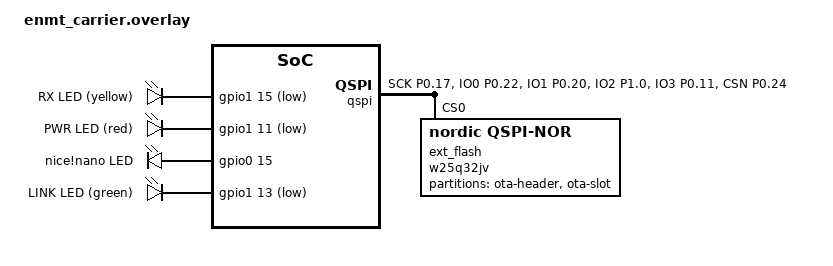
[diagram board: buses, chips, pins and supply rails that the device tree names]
/*
 * EnMT carrier board (hardware/enocean-carrier): a nice!nano v2 on a carrier with a TCM 515
 * (not fitted when it runs the BLE gateway), two buttons and three status LEDs under the lid's
 * light pipes. Shared by all apps.
 *
 * Applied on top of the Pro Micro UF2 target (promicro_nrf52840/nrf52840/uf2 with the app's own
 * boards/promicro_nrf52840_nrf52840_uf2.overlay: TCM UART or none, function button) by
 * `make BOARD=enmt`.
 *
 * The LEDs hang from 3.3 V through their resistors: a pin pulled low lights its LED.
 * Order of the leds node = DK_LED1..4 of the DK library = LED1..4 of Nrf::Board:
 *   LED1  green  LINK  P1.13  Matter/Thread status (Nrf::Board: off-blink, BLE blink, on when connected)
 *   LED2  yellow RX    P1.15  short pulse per packet from a bridged device (Nuki: on while connected to
 *                              the lock); Matter Identify blinks it
 *   LED3  red    PWR   P1.11  on; blinks while the app's health check fails (EnOcean: TCM silent; Nuki:
 *                              a pattern per state, see nuki-gateway/src/app_task.cpp)
 *   LED4  the nice!nano's own LED on P0.15 (under the module, not visible in the case)
 * All four blink together during a factory reset (button held 6 s). See common/status_leds/.
 */

/* led0 keeps its label: the board's aliases (led0, mcuboot-led0) point at it. */
&led0 {
	gpios = <&gpio1 13 GPIO_ACTIVE_LOW>;
	label = "LINK LED (green)";
};

/ {
	leds {
		led_rx: led_1 {
			gpios = <&gpio1 15 GPIO_ACTIVE_LOW>;
			label = "RX LED (yellow)";
		};

		led_pwr: led_2 {
			gpios = <&gpio1 11 GPIO_ACTIVE_LOW>;
			label = "PWR LED (red)";
		};

		led_module: led_3 {
			gpios = <&gpio0 15 GPIO_ACTIVE_HIGH>;
			label = "nice!nano LED";
		};
	};

	aliases {
		led1 = &led_rx;
		led2 = &led_pwr;
		led3 = &led_module;
	};
};

/*
 * QSPI flash U3 (W25Q32JVSNIQ, 4 MB, carrier v0.4) for Matter OTA: the app stages an update there,
 * the EnMT bootloader installs it (common/ota/gateway_ota.h, firmware/bootloader/enmt_ota.h). The
 * offsets are fixed by the bootloader. The IQ/JQ parts ship with QE fixed at 1, so the driver
 * mustn't touch the status registers (quad-enable-requirements = "NONE"). P0.11 and P1.00 are
 * i2c0's pins in the Pro Micro board files; i2c0 is disabled (promicro_nrf52840_common.dtsi).
 * Untested: v0.4 isn't built yet.
 */
&pinctrl {
	qspi_default: qspi_default {
		group1 {
			psels = <NRF_PSEL(QSPI_SCK, 0, 17)>,
				<NRF_PSEL(QSPI_IO0, 0, 22)>,
				<NRF_PSEL(QSPI_IO1, 0, 20)>,
				<NRF_PSEL(QSPI_IO2, 1, 0)>,
				<NRF_PSEL(QSPI_IO3, 0, 11)>,
				<NRF_PSEL(QSPI_CSN, 0, 24)>;
			nordic,drive-mode = <NRF_DRIVE_H0H1>;
		};
	};

	qspi_sleep: qspi_sleep {
		group1 {
			psels = <NRF_PSEL(QSPI_SCK, 0, 17)>,
				<NRF_PSEL(QSPI_IO0, 0, 22)>,
				<NRF_PSEL(QSPI_IO1, 0, 20)>,
				<NRF_PSEL(QSPI_IO2, 1, 0)>,
				<NRF_PSEL(QSPI_IO3, 0, 11)>;
			low-power-enable;
		};

		group2 {
			psels = <NRF_PSEL(QSPI_CSN, 0, 24)>;
			low-power-enable;
			bias-pull-up;
		};
	};
};

&qspi {
	status = "okay";
	pinctrl-0 = <&qspi_default>;
	pinctrl-1 = <&qspi_sleep>;
	pinctrl-names = "default", "sleep";

	ext_flash: w25q32jv@0 {
		compatible = "nordic,qspi-nor";
		reg = <0>;
		writeoc = "pp4o";
		readoc = "read4io";
		quad-enable-requirements = "NONE";
		sck-frequency = <8000000>;
		jedec-id = [ef 40 16];
		size = <33554432>;
		has-dpd;
		t-enter-dpd = <3000>;
		t-exit-dpd = <3000>;

		partitions {
			compatible = "fixed-partitions";
			#address-cells = <1>;
			#size-cells = <1>;

			ota_header_partition: partition@0 {
				label = "ota-header";
				reg = <0x00000000 DT_SIZE_K(4)>;
			};

			ota_slot_partition: partition@1000 {
				label = "ota-slot";
				reg = <0x00001000 DT_SIZE_K(888)>;
			};
		};
	};
};
